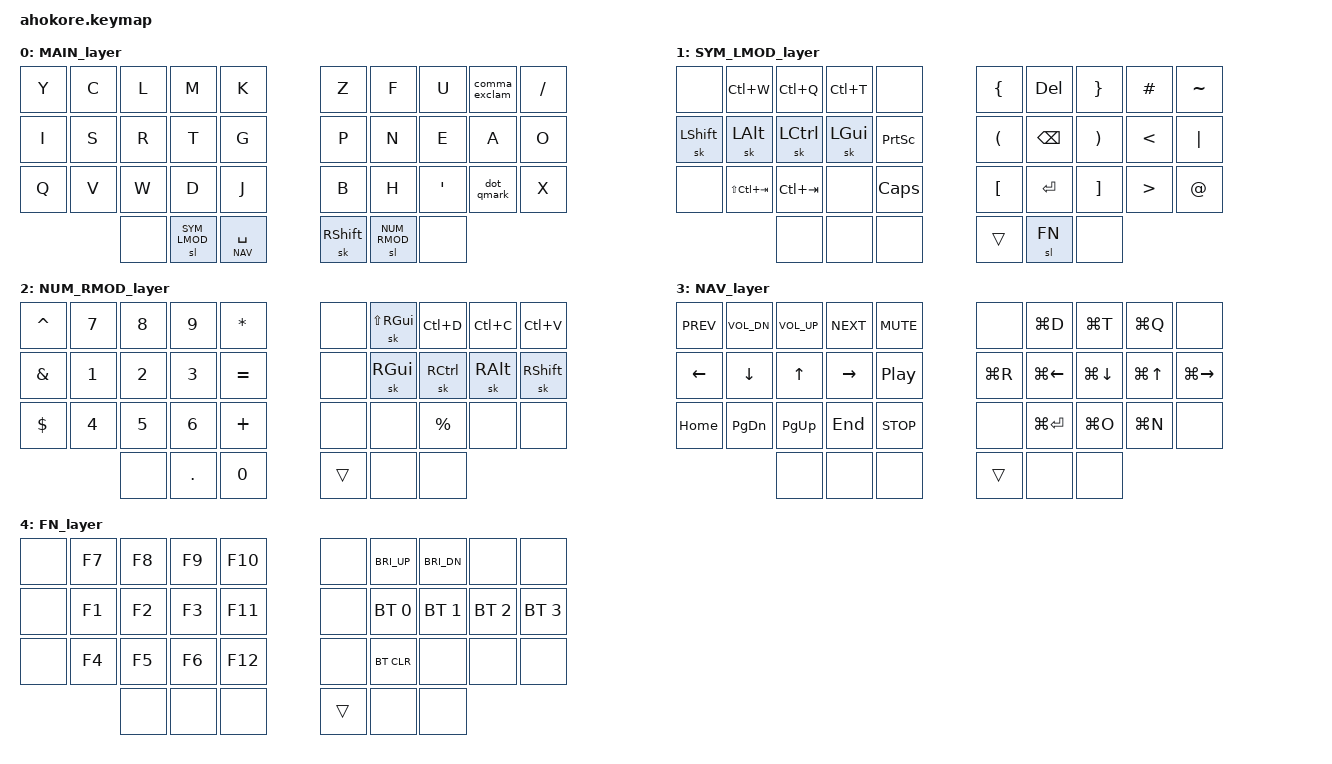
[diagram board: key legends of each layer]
#include <behaviors.dtsi>
#include <dt-bindings/zmk/keys.h>
#include <dt-bindings/zmk/bt.h>

#define MAIN 0
#define SYM_LMOD 1
#define NUM_RMOD 2
#define NAV 3
#define FN 4

&mt {
    flavor = "tap-preferred";
    tapping_term_ms = <140>;
};

/ {
    behaviors {
            comma_exclam: comma_exclam {
            compatible = "zmk,behavior-mod-morph";
            label = " COMMA_EXCLAM";
            #binding-cells = <0>;
            bindings = <&kp COMMA>, <&kp EXCL>;
            mods = <(MOD_LSFT|MOD_RSFT)>;
        };

        dot_qmark: dot_qmark {
            compatible = "zmk,behavior-mod-morph";
            label = "DOT_QUESTION";
            #binding-cells = <0>;
            bindings = <&kp DOT>, <&kp QMARK>;
            mods = <(MOD_LSFT|MOD_RSFT)>;
        };
    };

    combos {
        compatible = "zmk,combos";

        combo_esc {
            timeout-ms = <80>;
            key-positions = <21 22>;
            bindings = <&kp ESC>;
            layers = <0>;
        };

        combo_tab {
            timeout-ms = <80>;
            key-positions = <22 23>;
            bindings = <&kp TAB>;
            layers = <0>;
        };

        combo_minus {
            timeout-ms = <80>;
            key-positions = <26 27>;
            bindings = <&kp MINUS>;
            layers = <0>;
        };

        combo_underscore {
            timeout-ms = <80>;
            key-positions = <26 28>;
            bindings = <&kp UNDERSCORE>;
            layers = <0>;
        };

        combo_colon {
            timeout-ms = <80>;
            key-positions = <7 8>;
            bindings = <&kp COLON>;
            layers = <0>;
        };

        combo_semicolon {
            timeout-ms = <80>;
            key-positions = <1 2>;
            bindings = <&kp SEMICOLON>;
            layers = <0>;
        };

        combo_backslash {
            timeout-ms = <80>;
            key-positions = <28 29>;
            bindings = <&kp BSLH>;
            layers = <0>;
        };

        combo_grave {
            timeout-ms = <80>;
            key-positions = <27 28>;
            bindings = <&kp GRAVE>;
            layers = <0>;
        };
    };

    keymap {
        compatible = "zmk,keymap";

        MAIN_layer {
            bindings = <
                &kp Y &kp C &kp L &kp M        &kp K          &kp Z     &kp F        &kp U    &comma_exclam &kp FSLH
                &kp I &kp S &kp R &kp T        &kp G          &kp P     &kp N        &kp E    &kp A         &kp O
                &kp Q &kp V &kp W &kp D        &kp J          &kp B     &kp H        &kp APOS &dot_qmark    &kp X
                            &none &sl SYM_LMOD &lt NAV SPC    &sk RSHFT &sl NUM_RMOD &none
            >;
        };

        SYM_LMOD_layer {
            bindings = <
                &none     &kp LC(W)       &kp LC(Q)   &kp LC(T) &none        &kp LBRC  &kp DEL   &kp RBRC &kp HASH  &kp TILDE
                &sk LSHFT &sk LALT        &sk LCTRL   &sk LGUI  &kp PSCRN    &kp LPAR  &kp BSPC  &kp RPAR &kp LT    &kp PIPE
                &none     &kp LS(LC(TAB)) &kp LC(TAB) &none     &kp CAPS     &kp LBKT  &kp ENTER &kp RBKT &kp GT    &kp AT
                                          &none       &none     &none        &trans    &sl FN    &none
            >;
        };

        NUM_RMOD_layer {
            bindings = <
                &kp CARET &kp N7 &kp N8 &kp N9  &kp STAR     &none  &sk LS(RGUI) &kp LC(D) &kp LC(C) &kp LC(V)
                &kp AMPS  &kp N1 &kp N2 &kp N3  &kp EQUAL    &none  &sk RGUI     &sk RCTRL &sk RALT  &sk RSHFT
                &kp DLLR  &kp N4 &kp N5 &kp N6  &kp PLUS     &none  &none        &kp PRCNT &none     &none
                                 &none  &kp DOT &kp N0       &trans &none        &none
            >;
        };

        NAV_layer {
            bindings = <
                &kp C_PREV &kp C_VOL_DN &kp C_VOL_UP &kp C_NEXT &kp C_MUTE    &none     &kp LG(D)     &kp LG(T)    &kp LG(Q)  &none
                &kp LEFT   &kp DOWN     &kp UP       &kp RIGHT  &kp C_PP      &kp LG(R) &kp LG(LEFT)  &kp LG(DOWN) &kp LG(UP) &kp LG(RIGHT)
                &kp HOME   &kp PG_DN    &kp PG_UP    &kp END    &kp C_STOP    &none     &kp LG(ENTER) &kp LG(O)    &kp LG(N)  &none
                                        &none        &none      &none         &trans    &none         &none
            >;
        };	

        FN_layer {
            bindings = <
                &none &kp F7 &kp F8 &kp F9 &kp F10    &none  &kp C_BRI_UP &kp C_BRI_DN &none        &none
                &none &kp F1 &kp F2 &kp F3 &kp F11    &none  &bt BT_SEL 0 &bt BT_SEL 1 &bt BT_SEL 2 &bt BT_SEL 3
                &none &kp F4 &kp F5 &kp F6 &kp F12    &none  &bt BT_CLR   &none        &none        &none
                             &none  &none  &none      &trans &none        &none
            >;
        };	
    };
};
